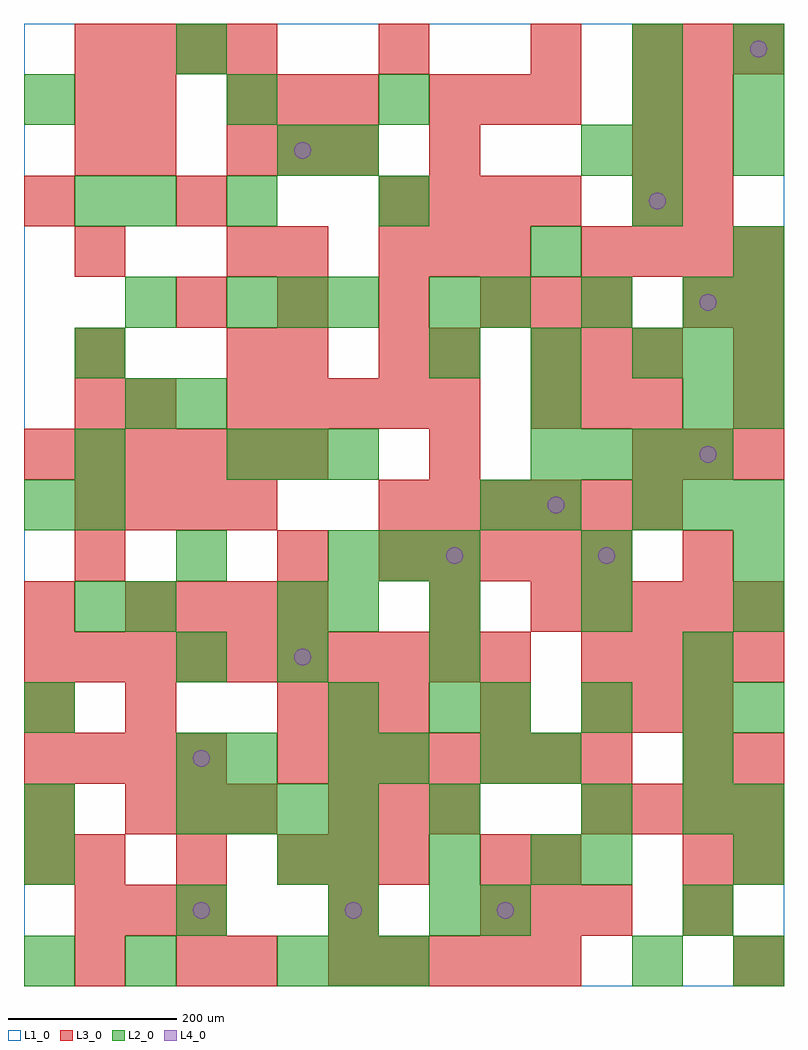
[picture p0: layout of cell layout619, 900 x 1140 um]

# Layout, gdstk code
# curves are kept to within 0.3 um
import gdstk
lib = gdstk.Library(unit=1e-6, precision=1e-09)
def R(c, l, rs):  # rectangles x0, y0, x1, y1
    for r in rs: c.add(gdstk.rectangle(r[:2], r[2:], *l))
def A(c, l, x, y, w, h, nx, ny, dx, dy):  # array of equal rectangles
    R(c, l, [(x+i*dx, y+j*dy, x+i*dx+w, y+j*dy+h) for i in range(nx) for j in range(ny)])
def P(c, l, *ps):  # polygons
    for p in ps: c.add(gdstk.Polygon(p, *l))
L1_0 = (1, 0)
L2_0 = (2, 0)
L3_0 = (3, 0)
L4_0 = (4, 0)

layout619 = lib.new_cell('layout619')
R(layout619, L1_0, [(0,0,900,1140)])
A(layout619, L2_0, 300, 0, 60, 60, 3, 1, 60, 0)
A(layout619, L2_0, 480, 60, 60, 60, 1, 3, 0, 120)
A(layout619, L2_0, 360, 120, 60, 60, 3, 1, 120, 0)
A(layout619, L2_0, 180, 180, 60, 60, 4, 1, 60, 0)
A(layout619, L2_0, 180, 240, 60, 60, 1, 3, 0, 120)
A(layout619, L2_0, 540, 300, 60, 60, 3, 2, 120, 480)
A(layout619, L2_0, 840, 300, 60, 60, 1, 3, 0, 180)
A(layout619, L2_0, 480, 420, 60, 60, 3, 1, 180, 0)
A(layout619, L2_0, 360, 480, 60, 60, 3, 1, 60, 0)
A(layout619, L2_0, 720, 540, 60, 60, 3, 1, 60, 0)
A(layout619, L2_0, 240, 600, 60, 60, 3, 2, 60, 180)
A(layout619, L2_0, 600, 600, 60, 60, 4, 1, 60, 0)
A(layout619, L2_0, 120, 660, 60, 60, 1, 3, 0, 120)
A(layout619, L2_0, 480, 720, 60, 60, 3, 1, 120, 0)
A(layout619, L2_0, 840, 720, 60, 60, 1, 3, 0, 60)
A(layout619, L2_0, 720, 900, 60, 60, 1, 4, 0, 60)
A(layout619, L2_0, 840, 960, 60, 60, 1, 3, 0, 60)
R(layout619, L2_0, [(0,0,60,60), (120,0,180,60), (720,0,780,60), (840,0,900,60), (180,60,240,120), (360,60,420,120), (540,60,600,120), (780,60,840,120), (0,120,60,180), (300,120,360,180), (660,120,720,180), (840,120,900,180), (0,180,60,240), (660,180,720,240), (780,180,840,240), (840,180,900,240), (240,240,300,300), (360,240,420,300), (420,240,480,300), (540,240,600,300), (600,240,660,300), (780,240,840,300), (0,300,60,360), (360,300,420,360), (300,360,360,420), (480,360,540,420), (780,360,840,420), (60,420,120,480), (120,420,180,480), (300,420,360,480), (360,420,420,480), (660,480,720,540), (0,540,60,600), (60,540,120,600), (540,540,600,600), (600,540,660,600), (60,600,120,660), (180,660,240,720), (600,660,660,720), (780,660,840,720), (60,720,120,780), (780,720,840,780), (480,780,540,840), (600,840,660,900), (60,900,120,960), (240,900,300,960), (420,900,480,960), (300,960,360,1020), (360,960,420,1020), (660,960,720,1020), (0,1020,60,1080), (240,1020,300,1080), (420,1020,480,1080), (180,1080,240,1140)])
A(layout619, L3_0, 360, 0, 60, 60, 5, 1, 60, 0)
A(layout619, L3_0, 840, 0, 60, 60, 1, 3, 0, 120)
A(layout619, L3_0, 60, 60, 60, 60, 3, 1, 60, 0)
A(layout619, L3_0, 540, 60, 60, 60, 3, 1, 60, 0)
A(layout619, L3_0, 60, 120, 60, 60, 3, 1, 120, 0)
A(layout619, L3_0, 0, 180, 60, 60, 1, 3, 0, 120)
A(layout619, L3_0, 120, 180, 60, 60, 3, 1, 60, 0)
A(layout619, L3_0, 360, 180, 60, 60, 3, 1, 60, 0)
A(layout619, L3_0, 660, 180, 60, 60, 4, 2, 60, 180)
A(layout619, L3_0, 0, 240, 60, 60, 4, 1, 60, 0)
A(layout619, L3_0, 300, 240, 60, 60, 7, 1, 60, 0)
A(layout619, L3_0, 300, 300, 60, 60, 3, 1, 60, 0)
A(layout619, L3_0, 660, 300, 60, 60, 3, 1, 60, 0)
A(layout619, L3_0, 0, 360, 60, 60, 10, 1, 60, 0)
A(layout619, L3_0, 120, 420, 60, 60, 4, 1, 60, 0)
A(layout619, L3_0, 600, 420, 60, 60, 5, 1, 60, 0)
A(layout619, L3_0, 420, 480, 60, 60, 5, 1, 60, 0)
A(layout619, L3_0, 60, 540, 60, 60, 4, 2, 60, 540)
A(layout619, L3_0, 420, 540, 60, 60, 6, 1, 60, 0)
A(layout619, L3_0, 0, 600, 60, 60, 6, 1, 60, 0)
A(layout619, L3_0, 720, 600, 60, 60, 3, 2, 60, 480)
A(layout619, L3_0, 240, 660, 60, 60, 5, 1, 60, 0)
A(layout619, L3_0, 600, 660, 60, 60, 3, 2, 60, 60)
A(layout619, L3_0, 840, 660, 60, 60, 1, 3, 0, 60)
A(layout619, L3_0, 60, 720, 60, 60, 1, 3, 0, 120)
A(layout619, L3_0, 180, 780, 60, 60, 4, 1, 120, 0)
A(layout619, L3_0, 420, 840, 60, 60, 3, 1, 60, 0)
A(layout619, L3_0, 660, 840, 60, 60, 4, 1, 60, 0)
A(layout619, L3_0, 420, 900, 60, 60, 4, 1, 60, 0)
A(layout619, L3_0, 720, 900, 60, 60, 1, 3, 0, 60)
A(layout619, L3_0, 780, 900, 60, 60, 1, 3, 0, 60)
A(layout619, L3_0, 240, 960, 60, 60, 3, 2, 60, 60)
A(layout619, L3_0, 480, 1020, 60, 60, 3, 1, 60, 0)
R(layout619, L3_0, [(60,0,120,60), (180,0,240,60), (240,0,300,60), (360,60,420,120), (780,60,840,120), (0,120,60,180), (360,120,420,180), (420,120,480,180), (540,120,600,180), (600,120,660,180), (780,120,840,180), (780,240,840,300), (120,300,180,360), (540,300,600,360), (480,420,540,480), (60,480,120,540), (300,480,360,540), (780,480,840,540), (480,600,540,660), (60,660,120,720), (120,660,180,720), (240,720,300,780), (300,720,360,780), (420,720,480,780), (480,720,540,780), (600,780,660,840), (660,780,720,840), (780,780,840,840), (240,840,300,900), (300,840,360,900), (0,900,60,960), (180,900,240,960), (120,960,180,1020), (480,960,540,1020), (60,1020,120,1080), (120,1020,180,1080), (420,1080,480,1140), (600,1080,660,1140)])
P(layout619, L4_0, [(220,90),(219.239,93.827),(217.071,97.071),(213.827,99.239),(210,100),(206.173,99.239),(202.929,97.071),(200.761,93.827),(200,90),(200.761,86.173),(202.929,82.929),(206.173,80.761),(210,80),(213.827,80.761),(217.071,82.929),(219.239,86.173)],
  [(220,270),(219.239,273.827),(217.071,277.071),(213.827,279.239),(210,280),(206.173,279.239),(202.929,277.071),(200.761,273.827),(200,270),(200.761,266.173),(202.929,262.929),(206.173,260.761),(210,260),(213.827,260.761),(217.071,262.929),(219.239,266.173)],
  [(340,390),(339.239,393.827),(337.071,397.071),(333.827,399.239),(330,400),(326.173,399.239),(322.929,397.071),(320.761,393.827),(320,390),(320.761,386.173),(322.929,382.929),(326.173,380.761),(330,380),(333.827,380.761),(337.071,382.929),(339.239,386.173)],
  [(340,990),(339.239,993.827),(337.071,997.071),(333.827,999.239),(330,1000),(326.173,999.239),(322.929,997.071),(320.761,993.827),(320,990),(320.761,986.173),(322.929,982.929),(326.173,980.761),(330,980),(333.827,980.761),(337.071,982.929),(339.239,986.173)],
  [(400,90),(399.239,93.827),(397.071,97.071),(393.827,99.239),(390,100),(386.173,99.239),(382.929,97.071),(380.761,93.827),(380,90),(380.761,86.173),(382.929,82.929),(386.173,80.761),(390,80),(393.827,80.761),(397.071,82.929),(399.239,86.173)],
  [(520,510),(519.239,513.827),(517.071,517.071),(513.827,519.239),(510,520),(506.173,519.239),(502.929,517.071),(500.761,513.827),(500,510),(500.761,506.173),(502.929,502.929),(506.173,500.761),(510,500),(513.827,500.761),(517.071,502.929),(519.239,506.173)],
  [(580,90),(579.239,93.827),(577.071,97.071),(573.827,99.239),(570,100),(566.173,99.239),(562.929,97.071),(560.761,93.827),(560,90),(560.761,86.173),(562.929,82.929),(566.173,80.761),(570,80),(573.827,80.761),(577.071,82.929),(579.239,86.173)],
  [(640,570),(639.239,573.827),(637.071,577.071),(633.827,579.239),(630,580),(626.173,579.239),(622.929,577.071),(620.761,573.827),(620,570),(620.761,566.173),(622.929,562.929),(626.173,560.761),(630,560),(633.827,560.761),(637.071,562.929),(639.239,566.173)],
  [(700,510),(699.239,513.827),(697.071,517.071),(693.827,519.239),(690,520),(686.173,519.239),(682.929,517.071),(680.761,513.827),(680,510),(680.761,506.173),(682.929,502.929),(686.173,500.761),(690,500),(693.827,500.761),(697.071,502.929),(699.239,506.173)],
  [(760,930),(759.239,933.827),(757.071,937.071),(753.827,939.239),(750,940),(746.173,939.239),(742.929,937.071),(740.761,933.827),(740,930),(740.761,926.173),(742.929,922.929),(746.173,920.761),(750,920),(753.827,920.761),(757.071,922.929),(759.239,926.173)],
  [(820,630),(819.239,633.827),(817.071,637.071),(813.827,639.239),(810,640),(806.173,639.239),(802.929,637.071),(800.761,633.827),(800,630),(800.761,626.173),(802.929,622.929),(806.173,620.761),(810,620),(813.827,620.761),(817.071,622.929),(819.239,626.173)],
  [(820,810),(819.239,813.827),(817.071,817.071),(813.827,819.239),(810,820),(806.173,819.239),(802.929,817.071),(800.761,813.827),(800,810),(800.761,806.173),(802.929,802.929),(806.173,800.761),(810,800),(813.827,800.761),(817.071,802.929),(819.239,806.173)],
  [(880,1110),(879.239,1113.827),(877.071,1117.071),(873.827,1119.239),(870,1120),(866.173,1119.239),(862.929,1117.071),(860.761,1113.827),(860,1110),(860.761,1106.173),(862.929,1102.929),(866.173,1100.761),(870,1100),(873.827,1100.761),(877.071,1102.929),(879.239,1106.173)])

lib.write_gds('layout619.gds')
